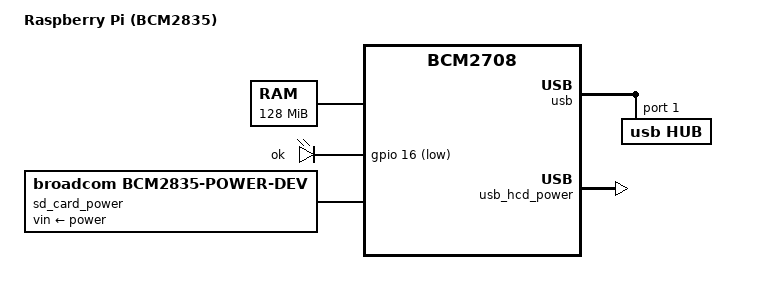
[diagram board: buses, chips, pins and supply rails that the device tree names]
/*
 * Copyright (c) 2012 Oleksandr Tymoshenko <gonzo@bluezbox.com>
 *
 * Redistribution and use in source and binary forms, with or without
 * modification, are permitted provided that the following conditions
 * are met:
 * 1. Redistributions of source code must retain the above copyright
 *    notice, this list of conditions and the following disclaimer.
 * 2. Redistributions in binary form must reproduce the above copyright
 *    notice, this list of conditions and the following disclaimer in the
 *    documentation and/or other materials provided with the distribution.
 *
 * THIS SOFTWARE IS PROVIDED BY THE AUTHOR AND CONTRIBUTORS ``AS IS'' AND
 * ANY EXPRESS OR IMPLIED WARRANTIES, INCLUDING, BUT NOT LIMITED TO, THE
 * IMPLIED WARRANTIES OF MERCHANTABILITY AND FITNESS FOR A PARTICULAR PURPOSE
 * ARE DISCLAIMED.  IN NO EVENT SHALL THE AUTHOR OR CONTRIBUTORS BE LIABLE
 * FOR ANY DIRECT, INDIRECT, INCIDENTAL, SPECIAL, EXEMPLARY, OR CONSEQUENTIAL
 * DAMAGES (INCLUDING, BUT NOT LIMITED TO, PROCUREMENT OF SUBSTITUTE GOODS
 * OR SERVICES; LOSS OF USE, DATA, OR PROFITS; OR BUSINESS INTERRUPTION)
 * HOWEVER CAUSED AND ON ANY THEORY OF LIABILITY, WHETHER IN CONTRACT, STRICT
 * LIABILITY, OR TORT (INCLUDING NEGLIGENCE OR OTHERWISE) ARISING IN ANY WAY
 * OUT OF THE USE OF THIS SOFTWARE, EVEN IF ADVISED OF THE POSSIBILITY OF
 * SUCH DAMAGE.
 *
 * $FreeBSD$
 */
/dts-v1/;

/include/ "bcm2835.dtsi"

/memreserve/ 0x08000000 0x08000000;	/* Set by VideoCore */

/ {
	model = "Raspberry Pi (BCM2835)";
	compatible = "raspberrypi,model-a", "raspberrypi,model-b", 
		     "broadcom,bcm2835-vc", "broadcom,bcm2708-vc";

	memory {
		device_type = "memory";
		reg = <0 0x8000000>; /* 128MB, Set by VideoCore */
	
	};

	system {
		revision = <0>;			/* Set by VideoCore */
		serial = <0 0>;			/* Set by VideoCore */
	};

	axi {
		gpio: gpio {
			/* BSC0 */
			pins_bsc0_a: bsc0_a {
				broadcom,function = "ALT0";
			};

			pins_bsc0_b: bsc0_b {
				broadcom,function = "ALT0";
			};

			pins_bsc0_c: bsc0_c {
				broadcom,function = "ALT1";
			};

			/* BSC1 */
			pins_bsc1_a: bsc1_a {
				broadcom,function = "ALT0";
			};

			pins_bsc1_b: bsc1_b {
				broadcom,function = "ALT2";
			};

			/* GPCLK0 */
			pins_gpclk0_a: gpclk0_a {
				broadcom,function = "ALT0";
			};

			pins_gpclk0_b: gpclk0_b {
				broadcom,function = "ALT5";
			};

			pins_gpclk0_c: gpclk0_c {
				broadcom,function = "ALT0";
			};

			pins_gpclk0_d: gpclk0_d {
				broadcom,function = "ALT0";
			};

			/* GPCLK1 */
			pins_gpclk1_a: gpclk1_a {
				broadcom,function = "ALT0";
			};

			pins_gpclk1_b: gpclk1_b {
				broadcom,function = "ALT5";
			};

			pins_gpclk1_c: gpclk1_c {
				broadcom,function = "ALT0";
			};

			pins_gpclk1_d: gpclk1_d {
				broadcom,function = "ALT0";
			};

			/* GPCLK2 */
			pins_gpclk2_a: gpclk2_a {
				broadcom,function = "ALT0";
			};

			pins_gpclk2_b: gpclk2_b {
				broadcom,function = "ALT0";
			};

			/* SPI0 */
			pins_spi0_a: spi0_a {
				broadcom,function = "ALT0";
			};

			pins_spi0_b: spi0_b {
				broadcom,function = "ALT0";
			};

			/* PWM */
			pins_pwm0_a: pwm0_a {
				broadcom,function = "ALT0";
			};

			pins_pwm0_b: pwm0_b {
				broadcom,function = "ALT5";
			};

			pins_pwm0_c: pwm0_c {
				broadcom,function = "ALT0";
			};

			pins_pwm1_a: pwm1_a {
				broadcom,function = "ALT0";
			};

			pins_pwm1_b: pwm1_b {
				broadcom,function = "ALT5";
			};

			pins_pwm1_c: pwm1_c {
				broadcom,function = "ALT0";
			};

			pins_pwm1_d: pwm1_d {
				broadcom,function = "ALT0";
			};

			/* UART0 */
			pins_uart0_a: uart0_a {
				broadcom,function = "ALT0";
			};

			pins_uart0_b: uart0_b {
				broadcom,function = "ALT3";
			};

			pins_uart0_c: uart0_c {
				broadcom,function = "ALT2";
			};

			pins_uart0_fc_a: uart0_fc_a {
				broadcom,function = "ALT3";
			};

			pins_uart0_fc_b: uart0_fc_b {
				broadcom,function = "ALT3";
			};

			pins_uart0_fc_c: uart0_fc_c {
				broadcom,function = "ALT2";
			};

			/* PCM */
			pins_pcm_a: pcm_a {
				broadcom,function = "ALT0";
			};

			pins_pcm_b: pcm_b {
				broadcom,function = "ALT2";
			};

			/* Secondary Address Bus */
			pins_sm_addr_a: sm_addr_a {
				broadcom,function = "ALT1";
			};

			pins_sm_addr_b: sm_addr_b {
				broadcom,function = "ALT1";
			};

			pins_sm_ctl_a: sm_ctl_a {
				broadcom,function = "ALT1";
			};

			pins_sm_ctl_b: sm_ctl_b {
				broadcom,function = "ALT1";
			};

			pins_sm_data_8bit_a: sm_data_8bit_a {
				broadcom,function = "ALT1";
			};

			pins_sm_data_8bit_b: sm_data_8bit_b {
				broadcom,function = "ALT1";
			};

			pins_sm_data_16bit: sm_data_16bit {
				broadcom,function = "ALT1";
			};

			pins_sm_data_18bit: sm_data_18bit {
				broadcom,function = "ALT1";
			};

			/* BSCSL */
			pins_bscsl: bscsl {
				broadcom,function = "ALT3";
			};

			/* SPISL */
			pins_spisl: spisl {
				broadcom,function = "ALT3";
			};

			/* SPI1 */
			pins_spi1: spi1 {
				broadcom,function = "ALT4";
			};

			/* UART1 */
			pins_uart1_a: uart1_a {
				broadcom,function = "ALT5";
			};

			pins_uart1_b: uart1_b {
				broadcom,function = "ALT5";
			};

			pins_uart1_c: uart1_c {
				broadcom,function = "ALT5";
			};

			pins_uart1_fc_a: uart1_fc_a {
				broadcom,function = "ALT5";
			};

			pins_uart1_fc_b: uart1_fc_b {
				broadcom,function = "ALT5";
			};

			pins_uart1_fc_c: uart1_fc_c {
				broadcom,function = "ALT5";
			};

			/* SPI2 */
			pins_spi2: spi2 {
				broadcom,function = "ALT4";
			};

			/* ARM JTAG */
			pins_arm_jtag_trst: arm_jtag_trst {
				broadcom,function = "ALT4";
			};

			pins_arm_jtag_a: arm_jtag_a {
				broadcom,function = "ALT5";
			};

			pins_arm_jtag_b: arm_jtag_b {
				broadcom,function = "ALT4";
			};

			/* Reserved */
			pins_reserved: reserved {
				broadcom,function = "ALT3";
			};
		};
		usb {
			hub {
				compatible = "usb,hub", "usb,device";
				reg = <0x00000001>;
				#address-cells = <1>;
				#size-cells = <0>;
				ethernet {
					compatible = "net,ethernet",
						     "usb,device";
					reg = <0x00000001>;
					mac-address = [00 00 00 00 00 00];
				};
			};

		};


	};

	display {
		compatible = "broadcom,bcm2835-fb", "broadcom,bcm2708-fb";

		broadcom,vc-mailbox = <&vc_mbox>;
		broadcom,vc-channel = <1>;

		broadcom,width = <0>;		/* Set by VideoCore */
		broadcom,height = <0>;		/* Set by VideoCore */
		broadcom,depth = <0>;		/* Set by VideoCore */
	};

	leds {
		compatible = "gpio-leds";

		ok {
			label = "ok";
			gpios = <&gpio 16 1>;

			/* Don't change this - it configures
			 * how the led driver determines if
			 * the led is on or off when it loads.
			 */
			default-state = "keep";

			/* This is the real default state. */
			linux,default-trigger = "default-on";
		};
	};

	power: regulator {
		compatible = "broadcom,bcm2835-power-mgr",
			     "broadcom,bcm2708-power-mgr",
			     "simple-bus";
		#address-cells = <1>;
		#size-cells = <0>;

		broadcom,vc-mailbox = <&vc_mbox>;
		broadcom,vc-channel = <0>;

		regulator-name = "VideoCore";
		regulator-min-microvolt = <5000000>;
		regulator-max-microvolt = <5000000>;
		regulator-always-on = <1>;

		sd_card_power: regulator@0 {
			compatible = "broadcom,bcm2835-power-dev",
				     "broadcom,bcm2708-power-dev";
			reg = <0>;

			vin-supply = <&power>;
			regulator-name = "SD Card";
			regulator-min-microvolt = <3300000>;
			regulator-max-microvolt = <3300000>;
		};

		/* This is for the controller itself, not the root port */
		usb_hcd_power: regulator@3 {
			compatible = "broadcom,bcm2835-power-dev",
				     "broadcom,bcm2708-power-dev";
			reg = <3>;

			vin-supply = <&power>;
			regulator-name = "USB HCD";
			regulator-min-microvolt = <5000000>;
			regulator-max-microvolt = <5000000>;
		};
	};

	aliases {
		uart0 = &uart0;
	};

	chosen {
		bootargs = "";			/* Set by VideoCore */
		stdin = "uart0";
		stdout = "uart0";
	};

};
